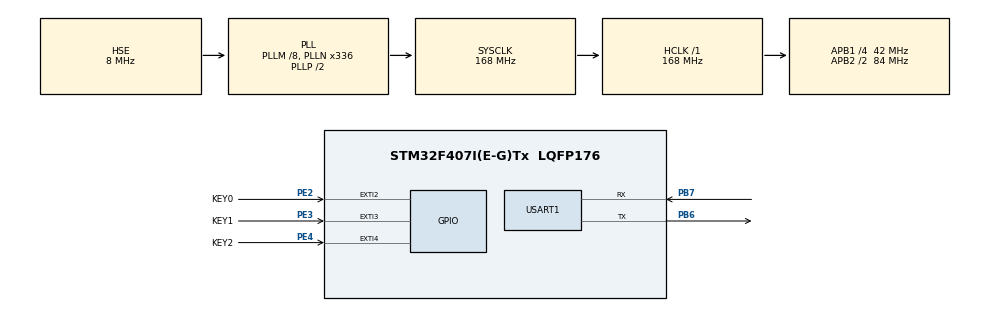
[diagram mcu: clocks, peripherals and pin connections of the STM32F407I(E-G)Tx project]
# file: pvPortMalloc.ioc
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FREERTOS.INCLUDE_xEventGroupSetBitFromISR=1
FREERTOS.INCLUDE_xTaskGetCurrentTaskHandle=1
FREERTOS.INCLUDE_xTimerPendFunctionCall=1
FREERTOS.Tasks01=KeyxTask,2,128,Keyx_Task,Default,NULL,Dynamic,NULL,NULL
FREERTOS.configUSE_MUTEXES=0
FREERTOS.configUSE_TIMERS=1
Mcu.Family=STM32F4
Mcu.Name=STM32F407I(E-G)Tx
Mcu.Package=LQFP176
NVIC.EXTI2_IRQn=true\:5\:0\:false\:false\:true\:true\:true\:true\:true
NVIC.EXTI3_IRQn=true\:5\:0\:false\:false\:true\:true\:true\:true\:true
NVIC.EXTI4_IRQn=true\:5\:0\:false\:false\:true\:true\:true\:true\:true
NVIC.PriorityGroup=NVIC_PRIORITYGROUP_4
NVIC.TIM1_UP_TIM10_IRQn=true\:0\:0\:true\:false\:true\:false\:false\:true\:true
NVIC.TimeBase=TIM1_UP_TIM10_IRQn
NVIC.TimeBaseIP=TIM1
PA13.Mode=Serial_Wire
PA13.Signal=SYS_JTMS-SWDIO
PA14.Mode=Serial_Wire
PA14.Signal=SYS_JTCK-SWCLK
PB6.Mode=Asynchronous
PB6.Signal=USART1_TX
PB7.Mode=Asynchronous
PB7.Signal=USART1_RX
PE2.GPIO_Label=KEY0
PE2.GPIO_ModeDefaultEXTI=GPIO_MODE_IT_RISING_FALLING
PE2.GPIO_PuPd=GPIO_PULLUP
PE2.Signal=GPXTI2
PE3.GPIO_Label=KEY1
PE3.GPIO_ModeDefaultEXTI=GPIO_MODE_IT_RISING_FALLING
PE3.GPIO_PuPd=GPIO_PULLUP
PE3.Signal=GPXTI3
PE4.GPIO_Label=KEY2
PE4.GPIO_ModeDefaultEXTI=GPIO_MODE_IT_RISING_FALLING
PE4.GPIO_PuPd=GPIO_PULLUP
PE4.Signal=GPXTI4
PH0-OSC_IN.Mode=HSE-External-Oscillator
PH0-OSC_IN.Signal=RCC_OSC_IN
PH1-OSC_OUT.Mode=HSE-External-Oscillator
PH1-OSC_OUT.Signal=RCC_OSC_OUT
ProjectManager.HeapSize=0x200
ProjectManager.StackSize=0x400
ProjectManager.TargetToolchain=MDK-ARM V5.32
RCC.48MHZClocksFreq_Value=84000000
RCC.AHBFreq_Value=168000000
RCC.APB1CLKDivider=RCC_HCLK_DIV4
RCC.APB1Freq_Value=42000000
RCC.APB1TimFreq_Value=84000000
RCC.APB2CLKDivider=RCC_HCLK_DIV2
RCC.APB2Freq_Value=84000000
RCC.APB2TimFreq_Value=168000000
RCC.CortexFreq_Value=168000000
RCC.HCLKFreq_Value=168000000
RCC.HSE_VALUE=8000000
RCC.HSI_VALUE=16000000
RCC.LSE_VALUE=32768
RCC.PLLM=8
RCC.PLLN=336
RCC.PLLSourceVirtual=RCC_PLLSOURCE_HSE
RCC.SYSCLKFreq_VALUE=168000000
RCC.SYSCLKSource=RCC_SYSCLKSOURCE_PLLCLK
RCC.VCOOutputFreq_Value=336000000
USART1.VirtualMode=VM_ASYNC
VP_FREERTOS_VS_CMSIS_V1.Mode=CMSIS_V1
VP_SYS_VS_tim1.Mode=TIM1
board=custom

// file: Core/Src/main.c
/* USER CODE BEGIN Header */
/**
  ******************************************************************************
  * @file           : main.c
  * @brief          : Main program body
  ******************************************************************************
  * @attention
  *
  * Copyright (c) 2024 STMicroelectronics.
  * All rights reserved.
  *
  * This software is licensed under terms that can be found in the LICENSE file
  * in the root directory of this software component.
  * If no LICENSE file comes with this software, it is provided AS-IS.
  *
  ******************************************************************************
  */
/* USER CODE END Header */
#include "main.h"
#include "cmsis_os.h"
#include "usart.h"
#include "gpio.h"

/* USER CODE BEGIN Includes */
#include <stdio.h>
/* USER CODE END Includes */

void SystemClock_Config(void);
void MX_FREERTOS_Init(void);

int main(void)
{

  /* MCU Configuration--------------------------------------------------------*/

  /* Reset of all peripherals, Initializes the Flash interface and the Systick. */
  HAL_Init();

  /* Configure the system clock */
  SystemClock_Config();

  /* Initialize all configured peripherals */
  MX_GPIO_Init();
  MX_USART1_UART_Init();
  /* USER CODE BEGIN 2 */
	//printf("uart is ok!\n");
  /* USER CODE END 2 */

  /* Call init function for freertos objects (in cmsis_os2.c) */
  MX_FREERTOS_Init();

  /* Start scheduler */
  osKernelStart();

  /* We should never get here as control is now taken by the scheduler */

  /* Infinite loop */
  while (1)
  {

  }
}

void SystemClock_Config(void)
{
  RCC_OscInitTypeDef RCC_OscInitStruct = {0};
  RCC_ClkInitTypeDef RCC_ClkInitStruct = {0};

  /** Configure the main internal regulator output voltage
  */
  __HAL_RCC_PWR_CLK_ENABLE();
  __HAL_PWR_VOLTAGESCALING_CONFIG(PWR_REGULATOR_VOLTAGE_SCALE1);

  /** Initializes the RCC Oscillators according to the specified parameters
  * in the RCC_OscInitTypeDef structure.
  */
  RCC_OscInitStruct.OscillatorType = RCC_OSCILLATORTYPE_HSE;
  RCC_OscInitStruct.HSEState = RCC_HSE_ON;
  RCC_OscInitStruct.PLL.PLLState = RCC_PLL_ON;
  RCC_OscInitStruct.PLL.PLLSource = RCC_PLLSOURCE_HSE;
  RCC_OscInitStruct.PLL.PLLM = 8;
  RCC_OscInitStruct.PLL.PLLN = 336;
  RCC_OscInitStruct.PLL.PLLP = RCC_PLLP_DIV2;
  RCC_OscInitStruct.PLL.PLLQ = 4;
  if (HAL_RCC_OscConfig(&RCC_OscInitStruct) != HAL_OK)
  {
    Error_Handler();
  }

  /** Initializes the CPU, AHB and APB buses clocks
  */
  RCC_ClkInitStruct.ClockType = RCC_CLOCKTYPE_HCLK|RCC_CLOCKTYPE_SYSCLK
                              |RCC_CLOCKTYPE_PCLK1|RCC_CLOCKTYPE_PCLK2;
  RCC_ClkInitStruct.SYSCLKSource = RCC_SYSCLKSOURCE_PLLCLK;
  RCC_ClkInitStruct.AHBCLKDivider = RCC_SYSCLK_DIV1;
  RCC_ClkInitStruct.APB1CLKDivider = RCC_HCLK_DIV4;
  RCC_ClkInitStruct.APB2CLKDivider = RCC_HCLK_DIV2;

  if (HAL_RCC_ClockConfig(&RCC_ClkInitStruct, FLASH_LATENCY_5) != HAL_OK)
  {
    Error_Handler();
  }
}

/* USER CODE BEGIN 4 */
//printf
int fputc(int ch, FILE *f)
{
    while((USART1->SR & 0X40)==0);
    USART1->DR = (uint8_t) ch;
    return ch;
}
/* USER CODE END 4 */

void HAL_TIM_PeriodElapsedCallback(TIM_HandleTypeDef *htim)
{
  if (htim->Instance == TIM1) {
    HAL_IncTick();
  }
}

void Error_Handler(void)
{
  __disable_irq();
  while (1)
  {
  }
}

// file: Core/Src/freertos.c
/* USER CODE BEGIN Header */
/**
  ******************************************************************************
  * File Name          : freertos.c
  * Description        : Code for freertos applications
  ******************************************************************************
  * @attention
  *
  * Copyright (c) 2024 STMicroelectronics.
  * All rights reserved.
  *
  * This software is licensed under terms that can be found in the LICENSE file
  * in the root directory of this software component.
  * If no LICENSE file comes with this software, it is provided AS-IS.
  *
  ******************************************************************************
  */
/* USER CODE END Header */

#include "FreeRTOS.h"
#include "task.h"
#include "main.h"
#include "cmsis_os.h"

/* USER CODE BEGIN Includes */
#include "gpio.h"
#include "event_groups.h"
/* USER CODE END Includes */

/* USER CODE BEGIN Variables */
EventGroupHandle_t KeyEventGroupHandle_t; //事件标志组
/* USER CODE END Variables */
osThreadId KeyxTaskHandle;

void Keyx_Task(void const * argument);

void MX_FREERTOS_Init(void); /* (MISRA C 2004 rule 8.1) */

/* GetIdleTaskMemory prototype (linked to static allocation support) */
void vApplicationGetIdleTaskMemory( StaticTask_t **ppxIdleTaskTCBBuffer, StackType_t **ppxIdleTaskStackBuffer, uint32_t *pulIdleTaskStackSize );

/* GetTimerTaskMemory prototype (linked to static allocation support) */
void vApplicationGetTimerTaskMemory( StaticTask_t **ppxTimerTaskTCBBuffer, StackType_t **ppxTimerTaskStackBuffer, uint32_t *pulTimerTaskStackSize );

/* USER CODE BEGIN GET_IDLE_TASK_MEMORY */
static StaticTask_t xIdleTaskTCBBuffer;
static StackType_t xIdleStack[configMINIMAL_STACK_SIZE];

void vApplicationGetIdleTaskMemory( StaticTask_t **ppxIdleTaskTCBBuffer, StackType_t **ppxIdleTaskStackBuffer, uint32_t *pulIdleTaskStackSize )
{
  *ppxIdleTaskTCBBuffer = &xIdleTaskTCBBuffer;
  *ppxIdleTaskStackBuffer = &xIdleStack[0];
  *pulIdleTaskStackSize = configMINIMAL_STACK_SIZE;
  /* place for user code */
}
/* USER CODE END GET_IDLE_TASK_MEMORY */

/* USER CODE BEGIN GET_TIMER_TASK_MEMORY */
static StaticTask_t xTimerTaskTCBBuffer;
static StackType_t xTimerStack[configTIMER_TASK_STACK_DEPTH];

void vApplicationGetTimerTaskMemory( StaticTask_t **ppxTimerTaskTCBBuffer, StackType_t **ppxTimerTaskStackBuffer, uint32_t *pulTimerTaskStackSize )
{
  *ppxTimerTaskTCBBuffer = &xTimerTaskTCBBuffer;
  *ppxTimerTaskStackBuffer = &xTimerStack[0];
  *pulTimerTaskStackSize = configTIMER_TASK_STACK_DEPTH;
  /* place for user code */
}
/* USER CODE END GET_TIMER_TASK_MEMORY */

void MX_FREERTOS_Init(void) {
  /* USER CODE BEGIN Init */
	//创建事件标志组
	KeyEventGroupHandle_t = xEventGroupCreate();
	/* Was the event group created successfully? */
	if( KeyEventGroupHandle_t == NULL )
	{
		/* The event group was not created because there was insufficient
		FreeRTOS heap available. */
		printf("xEventGroupCreate Failed !\n");
	}
	else
	{
		/* The event group was created. */
	}
  /* USER CODE END Init */

  /* Create the thread(s) */
  /* definition and creation of KeyxTask */
  osThreadDef(KeyxTask, Keyx_Task, osPriorityHigh, 0, 128);
  KeyxTaskHandle = osThreadCreate(osThread(KeyxTask), NULL);

}

void Keyx_Task(void const * argument)
{
  /* USER CODE BEGIN Keyx_Task */
  /* Infinite loop */
	void* HeapBuf = NULL;
  for(;;)
  {
    //等待事件标志组置位
		EventBits_t x = xEventGroupWaitBits(
			KeyEventGroupHandle_t,  //句柄
			KEY0_EVENT_BIT|KEY1_EVENT_BIT|KEY2_EVENT_BIT,  //检测的位
			pdTRUE,  //退出是否清除标志
			pdFALSE,  //是否等待所有标志位
			portMAX_DELAY  //最大等待时间
		);
		//printf("KEYx is down!KeyEventGroupBits:%x\n", x);
		switch(x){
			case KEY0_EVENT_BIT:
				if(NULL == HeapBuf){
					HeapBuf = pvPortMalloc(100);
					printf("Malloc successed!\n");
				}else{
					printf("Press KEY1 vPortFree!\n");
				}
				break;
			case KEY1_EVENT_BIT:
				if(NULL != HeapBuf){
					vPortFree(HeapBuf);
					HeapBuf = NULL;
					printf("Free successed!\n");
				}else{
					printf("Already empty, Please press KEY0 to pvPortMalloc\n");
				}
				break;
			case KEY2_EVENT_BIT:
				printf("Heap free size is %d\n", xPortGetFreeHeapSize());
				break;
		}
    osDelay(100);
  }
  /* USER CODE END Keyx_Task */
}
